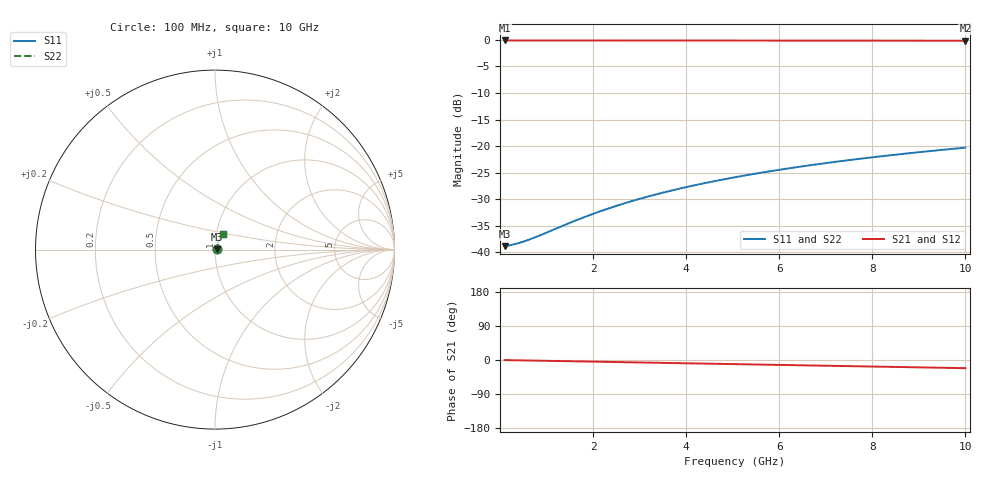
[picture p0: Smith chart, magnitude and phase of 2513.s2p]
# Hz S RI R 50.00
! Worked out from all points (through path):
!   100 points, 100 MHz to 10 GHz, reference 50 ohm
!   highest |S21| = -0.10 dB at 100 MHz (marker M1); lowest = -0.2 dB at 10 GHz (marker M2)
!   group delay of S21, straight-line fit = 5.99 ps
!   lowest |S11| = -38.9 dB at 100 MHz (marker M3), VSWR 1.02, Z = 51.1 + j0.0964 ohm
!   |S11| at or under -10 dB: start of sweep to end of sweep
!   |S22| runs from -38.9 to -20.3 dB; largest |S21 - S12| = 0
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1e8  0.0114 0.000942  0.9886 -0.00373  0.9886 -0.00373  0.0114 0.000942
2e8  0.0114 0.00188  0.9885 -0.00746  0.9885 -0.00746  0.0114 0.00188
3e8  0.0115 0.00283  0.9884 -0.0112  0.9884 -0.0112  0.0115 0.00283
4e8  0.0116 0.00377  0.9883 -0.0149  0.9883 -0.0149  0.0116 0.00377
6e8  0.0117 0.00565  0.9881 -0.0224  0.9881 -0.0224  0.0117 0.00565
8e8  0.0119 0.00752  0.9879 -0.0298  0.9879 -0.0298  0.0119 0.00752
1.5e9  0.0126 0.0141  0.9865 -0.0559  0.9865 -0.0559  0.0126 0.0141
1.8e9  0.013 0.0169  0.9857 -0.067  0.9857 -0.067  0.013 0.0169
2.2e9  0.0136 0.0206  0.9844 -0.0819  0.9844 -0.0819  0.0136 0.0206
2.6e9  0.0144 0.0243  0.9829 -0.0967  0.9829 -0.0967  0.0144 0.0243
3e9  0.0152 0.0279  0.9812 -0.1115  0.9812 -0.1115  0.0152 0.0279
3.4e9  0.0161 0.0316  0.9793 -0.1262  0.9793 -0.1262  0.0161 0.0316
3.8e9  0.0172 0.0352  0.9771 -0.1409  0.9771 -0.1409  0.0172 0.0352
4.2e9  0.0184 0.0387  0.9746 -0.1556  0.9746 -0.1556  0.0184 0.0387
4.6e9  0.0196 0.0423  0.972 -0.1702  0.972 -0.1702  0.0196 0.0423
5.1e9  0.0214 0.0466  0.9683 -0.1884  0.9683 -0.1884  0.0214 0.0466
5.9e9  0.0245 0.0534  0.9618 -0.2174  0.9618 -0.2174  0.0245 0.0534
6.7e9  0.028 0.06  0.9543 -0.2461  0.9543 -0.2461  0.028 0.06
7.5e9  0.0319 0.0664  0.9459 -0.2745  0.9459 -0.2745  0.0319 0.0664
8.4e9  0.0368 0.0733  0.9354 -0.3061  0.9354 -0.3061  0.0368 0.0733
9.2e9  0.0415 0.0791  0.9252 -0.3337  0.9252 -0.3337  0.0415 0.0791
1e10  0.0465 0.0846  0.9141 -0.361  0.9141 -0.361  0.0465 0.0846
